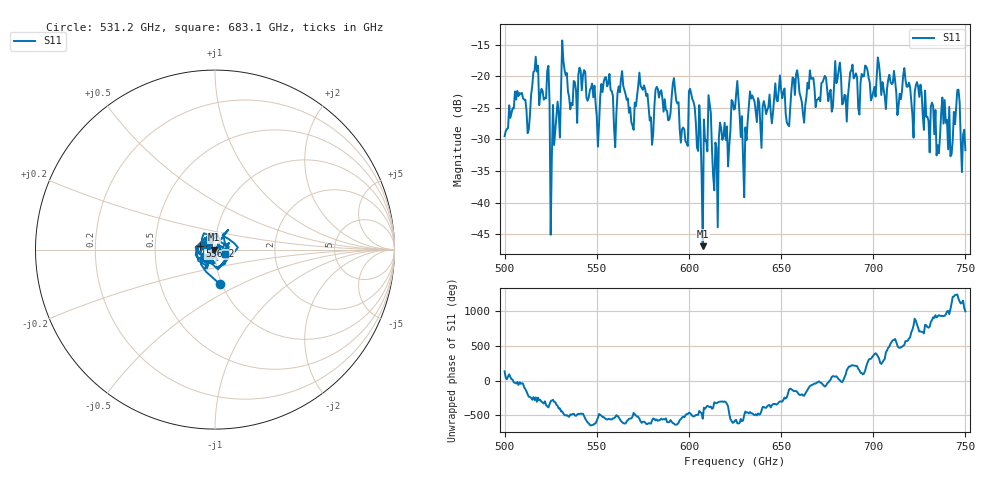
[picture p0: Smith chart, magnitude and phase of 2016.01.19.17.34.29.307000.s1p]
!Created with skrf (http://scikit-rf.org).
# GHz S RI R 50.0
!freq ReS11 ImS11
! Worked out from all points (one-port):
!   401 points, 500 GHz to 750 GHz, reference 50 ohm
!   lowest |S11| = -46.9 dB at 607.5 GHz (marker M1), VSWR 1.01, Z = 49.6 + j0.0499 ohm
!   |S11| at or under -10 dB: start of sweep to end of sweep
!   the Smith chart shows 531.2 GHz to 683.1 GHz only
!   S11 on the Smith chart (normalised r, x): 531.2 GHz: 0.98, -0.39; 556.2 GHz: 0.84, +0.03; 683.1 GHz: 1.12, -0.05
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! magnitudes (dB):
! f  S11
! 500 GHz  -29.5
! 513.1 GHz  -28.4
! 516.9 GHz  -16.9
! 523.1 GHz  -19.1
! 526.2 GHz  -24.5
! 531.2 GHz  -14.3
! 550.6 GHz  -31.1
! 556.2 GHz  -21.1
! 560 GHz  -31.2
! 562.5 GHz  -22.5
! 568.8 GHz  -27.3
! 573.8 GHz  -21.5
! 593.8 GHz  -24.3
! 598.1 GHz  -30.3
! 601.2 GHz  -22.8
! 607.5 GHz  -46.9
! 610.6 GHz  -23.0
! 614.4 GHz  -30.5
! 625 GHz  -25.1
! 630.6 GHz  -28.1
! 633.8 GHz  -23.5
! 656.2 GHz  -20.2
! 683.1 GHz  -24.4
! 687.5 GHz  -19.4
! 718.8 GHz  -21.6
! 735.6 GHz  -32.2
! 745.6 GHz  -22.2
! 750 GHz  -31.7
